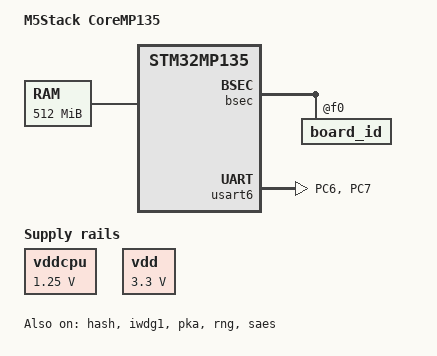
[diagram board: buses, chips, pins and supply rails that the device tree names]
// SPDX-License-Identifier: (GPL-2.0+ OR BSD-3-Clause)
/*
 * M5Stack CoreMP135 — OP-TEE OS device tree.
 *
 * Based on upstream core/arch/arm/dts/stm32mp135f-dk.dts (STMicroelectronics)
 * and M5Stack's optee-dts (github.com/m5stack/CoreMP135_buildroot-external-st).
 *
 * Differences from the DK:
 *  - No STPMIC1 (build with CFG_STPMIC1=n). AXP2101 rails are fixed regulators.
 *  - The CPU OPP table is limited to 650 MHz @ 1.25 V, because overdrive OPPs need
 *    1.35 V on VDDCPU, which we cannot set without an AXP2101 driver.
 *  - Console on USART6. No tamper pins, no secure GPIOs.
 */

/dts-v1/;

#include <dt-bindings/clock/stm32mp13-clksrc.h>
#include <dt-bindings/firewall/stm32mp13-tzc400.h>
#include <dt-bindings/gpio/gpio.h>
#include <dt-bindings/gpio/stm32mp_gpio.h>
#include <dt-bindings/regulator/st,stm32mp13-regulator.h>
#include "stm32mp135.dtsi"
#include "stm32mp13xf.dtsi"
#include "stm32mp13-pinctrl.dtsi"

/ {
	model = "M5Stack CoreMP135";
	compatible = "m5stack,coremp135", "st,stm32mp135";

	aliases {
		serial0 = &usart6;
	};

	chosen {
		stdout-path = "serial0:115200n8";
	};

	memory@c0000000 {
		device_type = "memory";
		reg = <0xc0000000 0x20000000>;
	};

	reserved-memory {
		#address-cells = <1>;
		#size-cells = <1>;
		ranges;

		optee_framebuffer: optee-framebuffer@dd000000 {
			/* Secure framebuffer memory */
			reg = <0xdd000000 0x1000000>;
			st,protreg = <DT_TZC_REGION_S_RDWR 0>;
			no-map;
		};
	};

	/* AXP2101 rails, fixed at their power-on defaults */
	vddcpu: vddcpu {
		compatible = "regulator-fixed";
		regulator-name = "vddcpu";
		regulator-min-microvolt = <1250000>;
		regulator-max-microvolt = <1250000>;
		regulator-always-on;
	};

	vdd: vdd {
		compatible = "regulator-fixed";
		regulator-name = "vdd";
		regulator-min-microvolt = <3300000>;
		regulator-max-microvolt = <3300000>;
		regulator-always-on;
	};
};

&cpu0_opp_table {
	/delete-node/ opp-900000000;
	/delete-node/ opp-1000000000;
};

&bsec {
	board_id: board_id@f0 {
		reg = <0xf0 0x4>;
		st,non-secure-otp;
	};
};

&cpu0 {
	cpu-supply = <&vddcpu>;
};

&etzpc {
	st,decprot =
		<DECPROT(STM32MP1_ETZPC_ADC1_ID, DECPROT_NS_RW, DECPROT_UNLOCK)>,
		<DECPROT(STM32MP1_ETZPC_ADC2_ID, DECPROT_S_RW, DECPROT_UNLOCK)>,
		<DECPROT(STM32MP1_ETZPC_BKPSRAM_ID, DECPROT_S_RW, DECPROT_UNLOCK)>,
		<DECPROT(STM32MP1_ETZPC_CRYP_ID, DECPROT_NS_RW, DECPROT_UNLOCK)>,
		<DECPROT(STM32MP1_ETZPC_DCMIPP_ID, DECPROT_NS_RW, DECPROT_UNLOCK)>,
		<DECPROT(STM32MP1_ETZPC_DDRCTRLPHY_ID, DECPROT_NS_R_S_W, DECPROT_UNLOCK)>,
		<DECPROT(STM32MP1_ETZPC_ETH1_ID, DECPROT_NS_RW, DECPROT_UNLOCK)>,
		<DECPROT(STM32MP1_ETZPC_ETH2_ID, DECPROT_NS_RW, DECPROT_UNLOCK)>,
		<DECPROT(STM32MP1_ETZPC_FMC_ID, DECPROT_NS_RW, DECPROT_UNLOCK)>,
		<DECPROT(STM32MP1_ETZPC_HASH_ID, DECPROT_S_RW, DECPROT_UNLOCK)>,
		<DECPROT(STM32MP1_ETZPC_I2C3_ID, DECPROT_NS_RW, DECPROT_UNLOCK)>,
		<DECPROT(STM32MP1_ETZPC_I2C4_ID, DECPROT_S_RW, DECPROT_UNLOCK)>,
		<DECPROT(STM32MP1_ETZPC_I2C5_ID, DECPROT_NS_RW, DECPROT_UNLOCK)>,
		<DECPROT(STM32MP1_ETZPC_IWDG1_ID, DECPROT_S_RW, DECPROT_UNLOCK)>,
		<DECPROT(STM32MP1_ETZPC_LPTIM2_ID, DECPROT_NS_RW, DECPROT_UNLOCK)>,
		<DECPROT(STM32MP1_ETZPC_LPTIM3_ID, DECPROT_S_RW, DECPROT_UNLOCK)>,
		<DECPROT(STM32MP1_ETZPC_LTDC_ID, DECPROT_NS_RW, DECPROT_UNLOCK)>,
		<DECPROT(STM32MP1_ETZPC_MCE_ID, DECPROT_S_RW, DECPROT_UNLOCK)>,
		<DECPROT(STM32MP1_ETZPC_OTG_ID, DECPROT_NS_RW, DECPROT_UNLOCK)>,
		<DECPROT(STM32MP1_ETZPC_PKA_ID, DECPROT_S_RW, DECPROT_UNLOCK)>,
		<DECPROT(STM32MP1_ETZPC_QSPI_ID, DECPROT_NS_RW, DECPROT_UNLOCK)>,
		<DECPROT(STM32MP1_ETZPC_RNG_ID, DECPROT_S_RW, DECPROT_UNLOCK)>,
		<DECPROT(STM32MP1_ETZPC_SAES_ID, DECPROT_S_RW, DECPROT_UNLOCK)>,
		<DECPROT(STM32MP1_ETZPC_SDMMC1_ID, DECPROT_NS_RW, DECPROT_UNLOCK)>,
		<DECPROT(STM32MP1_ETZPC_SDMMC2_ID, DECPROT_NS_RW, DECPROT_UNLOCK)>,
		<DECPROT(STM32MP1_ETZPC_SPI4_ID, DECPROT_NS_RW, DECPROT_UNLOCK)>,
		<DECPROT(STM32MP1_ETZPC_SPI5_ID, DECPROT_NS_RW, DECPROT_UNLOCK)>,
		<DECPROT(STM32MP1_ETZPC_SRAM1_ID, DECPROT_NS_RW, DECPROT_UNLOCK)>,
		<DECPROT(STM32MP1_ETZPC_SRAM2_ID, DECPROT_NS_RW, DECPROT_UNLOCK)>,
		<DECPROT(STM32MP1_ETZPC_SRAM3_ID, DECPROT_S_RW, DECPROT_UNLOCK)>,
		<DECPROT(STM32MP1_ETZPC_STGENC_ID, DECPROT_S_RW, DECPROT_UNLOCK)>,
		<DECPROT(STM32MP1_ETZPC_TIM12_ID, DECPROT_S_RW, DECPROT_UNLOCK)>,
		<DECPROT(STM32MP1_ETZPC_TIM13_ID, DECPROT_NS_RW, DECPROT_UNLOCK)>,
		<DECPROT(STM32MP1_ETZPC_TIM14_ID, DECPROT_NS_RW, DECPROT_UNLOCK)>,
		<DECPROT(STM32MP1_ETZPC_TIM15_ID, DECPROT_S_RW, DECPROT_UNLOCK)>,
		<DECPROT(STM32MP1_ETZPC_TIM16_ID, DECPROT_NS_RW, DECPROT_UNLOCK)>,
		<DECPROT(STM32MP1_ETZPC_TIM17_ID, DECPROT_NS_RW, DECPROT_UNLOCK)>,
		<DECPROT(STM32MP1_ETZPC_USART1_ID, DECPROT_NS_RW, DECPROT_UNLOCK)>,
		<DECPROT(STM32MP1_ETZPC_USART2_ID, DECPROT_NS_RW, DECPROT_UNLOCK)>,
		<DECPROT(STM32MP1_ETZPC_USBPHYCTRL_ID, DECPROT_NS_RW, DECPROT_UNLOCK)>,
		<DECPROT(STM32MP1_ETZPC_VREFBUF_ID, DECPROT_NS_RW, DECPROT_UNLOCK)>;
};


&hash {
	status = "okay";
};

&iwdg1 {
	timeout-sec = <32>;
	status = "okay";
};

&oem_enc_key {
	st,non-secure-otp-provisioning;
};

&pka {
	status = "okay";
};

&pwr_regulators {
	vdd-supply = <&vdd>;
	vdd_3v3_usbfs-supply = <&vdd>;
};

&rcc {
	compatible = "st,stm32mp13-rcc", "syscon";

	st,clksrc = <
		CLK_MPU_PLL1P
		CLK_AXI_PLL2P
		CLK_MLAHBS_PLL3
		CLK_RTC_LSE
		CLK_MCO1_HSE
		CLK_MCO2_DISABLED
		CLK_CKPER_HSE
		CLK_ETH1_PLL4P
		CLK_ETH2_PLL4P
		CLK_SDMMC1_PLL4P
		CLK_SDMMC2_PLL4P
		CLK_STGEN_HSE
		CLK_USBPHY_HSE
		CLK_I2C4_HSI
		CLK_I2C5_HSI
		CLK_USBO_USBPHY
		CLK_ADC2_CKPER
		CLK_I2C12_HSI
		CLK_UART1_HSI
		CLK_UART2_HSI
		CLK_UART35_HSI
		CLK_UART4_HSI
		CLK_UART6_HSI
		CLK_UART78_HSI
		CLK_SAES_AXI
		CLK_DCMIPP_PLL2Q
		CLK_LPTIM3_PCLK3
		CLK_RNG1_PLL4R
	>;

	st,clkdiv = <
		DIV(DIV_MPU, 1)
		DIV(DIV_AXI, 0)
		DIV(DIV_MLAHB, 0)
		DIV(DIV_APB1, 1)
		DIV(DIV_APB2, 1)
		DIV(DIV_APB3, 1)
		DIV(DIV_APB4, 1)
		DIV(DIV_APB5, 2)
		DIV(DIV_APB6, 1)
		DIV(DIV_RTC, 0)
		DIV(DIV_MCO1, 0)
		DIV(DIV_MCO2, 0)
	>;

	st,pll_vco {
		pll1_vco_2000Mhz: pll1-vco-2000Mhz {
			src = <CLK_PLL12_HSE>;
			divmn = <1 82>;
			frac = <0xAAA>;
		};

		pll1_vco_1800Mhz: pll1-vco-1800Mhz {
			src = <CLK_PLL12_HSE>;
			divmn = <1 74>;
			frac = <0>;
		};

		pll1_vco_1300Mhz: pll1-vco-1300Mhz {
			src = <CLK_PLL12_HSE>;
			divmn = <2 80>;
			frac = <0x800>;
		};

		pll2_vco_1066Mhz: pll2-vco-1066Mhz {
			src = <CLK_PLL12_HSE>;
			divmn = <2 65>;
			frac = <0x1400>;
		};

		pll3_vco_417Mhz: pll3-vco-417Mhz {
			src = <CLK_PLL3_HSE>;
			divmn = <1 33>;
			frac = <0x1a04>;
		};

		pll4_vco_594Mhz: pll4-vco-594Mhz {
			src = <CLK_PLL4_HSE>;
			divmn = <3 98>;	/* 24 MHz / 4 * 99 */
		};
	};

	/* VCO = 1300.0 MHz => P = 650 (CPU) */
	pll1: st,pll@0 {
		compatible = "st,stm32mp1-pll";
		reg = <0>;

		st,pll = <&pll1_cfg1>;

		pll1_cfg1: pll1_cfg1 {
			st,pll_vco = <&pll1_vco_1300Mhz>;
			st,pll_div_pqr = <0 1 1>;
		};

		pll1_cfg2: pll1_cfg2 {
			st,pll_vco = <&pll1_vco_2000Mhz>;
			st,pll_div_pqr = <0 1 1>;
		};

		pll1_cfg3: pll1_cfg3 {
			st,pll_vco = <&pll1_vco_1800Mhz>;
			st,pll_div_pqr = <0 1 1>;
		};
	};

	/* VCO = 1066.0 MHz => P = 266 (AXI), Q = 266, R = 533 (DDR) */
	pll2: st,pll@1 {
		compatible = "st,stm32mp1-pll";
		reg = <1>;

		st,pll = <&pll2_cfg1>;

		pll2_cfg1: pll2_cfg1 {
			st,pll_vco = <&pll2_vco_1066Mhz>;
			st,pll_div_pqr = <1 1 0>;
		};
	};

	/* VCO = 417.8 MHz => P = 209, Q = 24, R = 11 */
	pll3: st,pll@2 {
		compatible = "st,stm32mp1-pll";
		reg = <2>;

		st,pll = <&pll3_cfg1>;

		pll3_cfg1: pll3_cfg1 {
			st,pll_vco = <&pll3_vco_417Mhz>;
			st,pll_div_pqr = <1 16 36>;
		};
	};

	/*
	 * VCO = 594.0 MHz => P = 99 (SDMMC, ETH), Q = 74.25 (LTDC pixel clock
	 * for HDMI 720p60), R = 49.5 (RNG). Same in TF-A and OP-TEE.
	 */
	pll4: st,pll@3 {
		compatible = "st,stm32mp1-pll";
		reg = <3>;
		st,pll = <&pll4_cfg1>;

		pll4_cfg1: pll4_cfg1 {
			st,pll_vco = <&pll4_vco_594Mhz>;
			st,pll_div_pqr = <5 7 11>;
		};
	};

	st,clk_opp {
		/* CK_MPU clock config for MP13 */
		st,ck_mpu {
			cfg_1 {
				hz = <650000000>;
				st,clksrc = <CLK_MPU_PLL1P>;
				st,pll = <&pll1_cfg1>;
			};

			cfg_2 {
				hz = <1000000000>;
				st,clksrc = <CLK_MPU_PLL1P>;
				st,pll = <&pll1_cfg2>;
			};

			cfg_3 {
				hz = <900000000>;
				st,clksrc = <CLK_MPU_PLL1P>;
				st,pll = <&pll1_cfg3>;
			};
		};
	};
};


&rng {
	status = "okay";
	clock-error-detect;
};

&saes {
	status = "okay";
};

&sdmmc1_io {
	vddsd1-supply = <&vdd>;
};

&sdmmc2_io {
	vddsd2-supply = <&vdd>;
};

&tzc400 {
	memory-region = <&optee_framebuffer>;
};

&usart6 {
	pinctrl-names = "default";
	pinctrl-0 = <&usart6_pins_coremp135>;
	status = "okay";
};

&pinctrl {
	usart6_pins_coremp135: usart6-coremp135-0 {
		pins1 {
			pinmux = <STM32_PINMUX('C', 6, AF7)>; /* USART6_TX */
			bias-pull-up;
		};
		pins2 {
			pinmux = <STM32_PINMUX('C', 7, AF7)>; /* USART6_RX */
			bias-disable;
			drive-push-pull;
			slew-rate = <0>;
		};
	};
};
